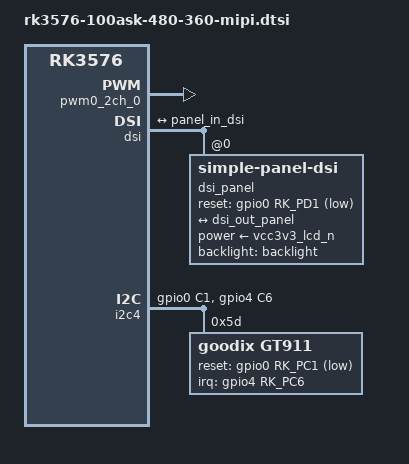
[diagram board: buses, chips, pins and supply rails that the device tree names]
/*
*****mipi-dsi *******
*/
&backlight {
	pwms = <&pwm0_2ch_0 0 25000 0>;
	
};

&pwm0_2ch_0 {
        status = "okay";
        pinctrl-0 = <&pwm0m0_ch0>;
};

&dsi {
	status = "okay";
	rockchip,lane-rate = <480>;

	dsi_panel: panel@0 {
		status = "okay";
		compatible = "simple-panel-dsi";
		power-supply = <&vcc3v3_lcd_n>;
		reg = <0>;
		backlight = <&backlight>;

		prepare-delay-ms = <10>;
		reset-delay-ms = <40>;
		init-delay-ms = <40>;
		enable-delay-ms = <40>;
		disable-delay-ms = <50>;
		unprepare-delay-ms = <40>;

		reset-gpios = <&gpio0 RK_PD1 GPIO_ACTIVE_LOW>;
		pinctrl-names = "default";

		width-mm = <41>;
		height-mm = <31>;

		dsi,flags = <(MIPI_DSI_MODE_VIDEO | MIPI_DSI_MODE_VIDEO_BURST |
                              MIPI_DSI_MODE_LPM | MIPI_DSI_MODE_NO_EOT_PACKET)>;

		dsi,format = <MIPI_DSI_FMT_RGB888>;
		dsi,lanes = <2>;

		panel-init-sequence = [
			39 00 06 FF 77 01 00 00 13
			15 00 02 EF 08
			39 00 06 FF 77 01 00 00 10
			39 00 03 C0 2C 00
    			39 00 03 C1 10 0C
    			39 00 03 C2 21 0A
    			15 00 02 CC 10
			39 00 11 B0 00 12 9A 0E 12 07 0B 08 09 26 05 51 0F 69 30 1C
			39 00 11 B1 00 12 9B 0D 10 06 0B 09 08 25 03 50 0F 68 30 1C
    			39 00 06 FF 77 01 00 00 11
    			15 00 02 B0 5D
    			15 00 02 B1 66
    			15 00 02 B2 84
    			15 00 02 B3 80
    			15 00 02 B5 4E
    			15 00 02 B7 85
    			15 00 02 B8 20
    			15 00 02 C1 78
    			15 00 02 C2 78
    			15 00 02 D0 88
			39 00 04 E0 00 00 02
			39 00 0C E1 06 A0 08 A0 05 A0 07 A0 00 44 44
    			39 00 0D E2 00 00 44 44 01 A0 00 00 01 A0 00 00
    			39 00 05 E3 00 00 11 11
    			39 00 03 E4 44 44
    			39 00 11 E5 0D 79 0A A0 0F 7B 0A A0 09 75 0A A0 0B 77 0A A0
    			39 00 05 E6 00 00 11 11
    			39 00 03 E7 44 44
    			39 00 11 E8 0C 78 0A A0 0E 7A 0A A0 08 74 0A A0 0A 76 0A A0
    			39 00 03 E9 36 00
    			39 00 08 EB 00 01 E4 E4 44 88 40
    			39 00 11 ED FF 45 67 FA 01 2B AB FF FF BA B2 10 AF 76 54 FF
    			39 00 07 EF 10 0D 04 08 3F 1F
    			39 00 06 FF 77 01 00 00 00
    			39 00 06 FF 77 01 00 00 13
    			39 00 03 E8 00 0E
    			05 78 01 11     /* Sleep Out + 120 ms (0x78 = 120 ms) */
    			39 0A 03 E8 00 0C
    			39 00 03 E8 00 00
    			39 00 06 FF 77 01 00 00 00
    			05 14 01 29     /* Display ON + 20 ms (0x14 = 20 ms) */
		];

		panel-exit-sequence = [
			05 00 01 28
			05 78 01 10
		];

		display-timings {
			native-mode = <&timing0>;

			timing0: timing0 {
				clock-frequency = <11760000>;   /* 约 11.76 MHz，对应 60Hz */
				hactive = <480>;
				vactive = <360>;
				hfront-porch = <10>;
				hsync-len = <5>;
				hback-porch = <20>;
				vfront-porch = <5>;
				vsync-len = <5>;
				vback-porch = <10>;
				hsync-active = <0>;
				vsync-active = <0>;
				de-active = <0>;
				pixelclk-active = <0>;
			};
		};

		ports {
			#address-cells = <1>;
			#size-cells = <0>;

			port@0 {
				reg = <0>;
				panel_in_dsi: endpoint {
					remote-endpoint = <&dsi_out_panel>;
				};
			};
		};
	};

	ports {
		#address-cells = <1>;
		#size-cells = <0>;

		port@1 {
			reg = <1>;
			dsi_out_panel: endpoint {
				remote-endpoint = <&panel_in_dsi>;
			};
		};
	};
};



/*
**** touch ****
*/

&i2c4 {
		status = "okay";
		pinctrl-names = "default";
		pinctrl-0 = <&i2c4m0_xfer &tp_rst &tp_irq>;

		gt911@5d {
			compatible = "goodix,gt911";
			reg = <0x5d>;
			interrupt-parent = <&gpio4>;
			interrupts = <RK_PC6 IRQ_TYPE_EDGE_FALLING>;
			reset-gpios = <&gpio0 RK_PC1 GPIO_ACTIVE_LOW>;
			pinctrl-names = "default";
		};
};

&pinctrl {
		touchscreen {
				tp_rst:tp-rst {
						rockchip,pins = <0 RK_PC1 RK_FUNC_GPIO &pcfg_pull_up>;
				};

				tp_irq:tp-irq {
						rockchip,pins = <4 RK_PC6 RK_FUNC_GPIO &pcfg_pull_none>;
				};
		};    
};
